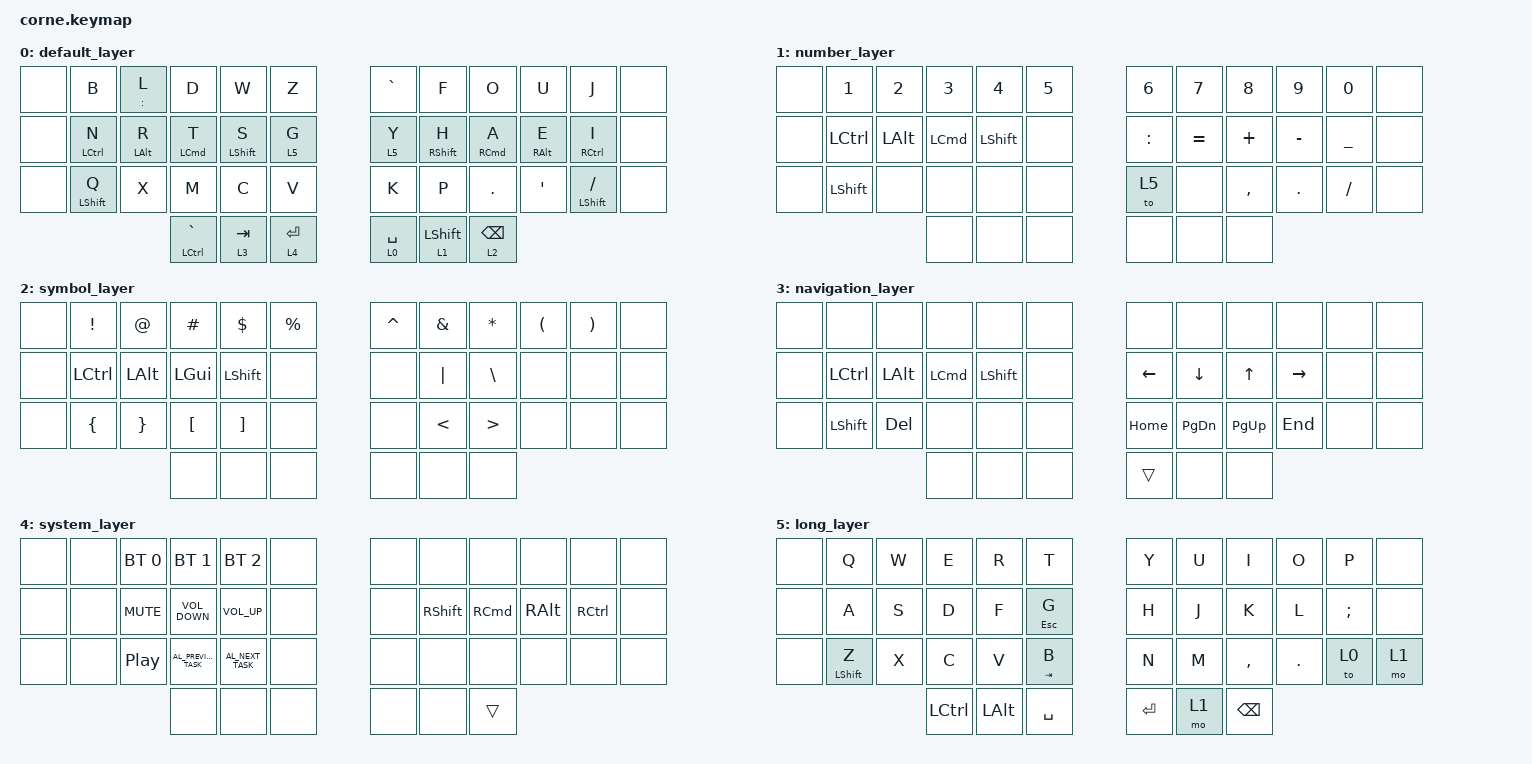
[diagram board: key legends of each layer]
/*
 * Copyright (c) 2020 The ZMK Contributors
 *
 * SPDX-License-Identifier: MIT
 */

#include <behaviors.dtsi>
#include <dt-bindings/zmk/bt.h>
#include <dt-bindings/zmk/keys.h>

/ {
    combos {
        compatible = "zmk,combos";

        esc {
            bindings = <&kp ESCAPE>;
            key-positions = <15 16>;
        };
    };

    behaviors {
        hold_tap_behavior: hold_tap_behavior {
            compatible = "zmk,behavior-hold-tap";
            label = "HOLD_TAP_BEHAVIOR";
            bindings = <&kp>, <&kp>;

            #binding-cells = <2>;
            tapping-term-ms = <200>;
            quick-tap-ms = <0>;
            flavor = "tap-preferred";
        };
    };

    keymap {
        compatible = "zmk,keymap";

        default_layer {
            // -----------------------------------------------------------------------------------------
            // |  Q  |  W  |  E  |  R  |  T  |   |  Y  |  U   |  I  |  O  |  P  |
            // | A  |  S  |  D  |  F  |  G  |   |  H  |  J   |  K  |  L  |  ;  |
            // | Z  |  X  |  C  |  V  |  B  |   |  N  |  M   |  ,  |  .  |  /  |
            //                    | GUI | LWR | SPC |   | ENT | RSE  | BKSP |

            bindings = <
&none  &kp B                            &hold_tap_behavior COLON L     &kp D                              &kp W                            &kp Z        &kp GRAVE    &kp F                             &kp O                               &kp U                           &kp J                                &none
&none  &hold_tap_behavior LCTRL N       &hold_tap_behavior LEFT_ALT R  &hold_tap_behavior LEFT_COMMAND T  &hold_tap_behavior LEFT_SHIFT S  &lt 5 G      &lt 5 Y      &hold_tap_behavior RIGHT_SHIFT H  &hold_tap_behavior RIGHT_COMMAND A  &hold_tap_behavior RIGHT_ALT E  &hold_tap_behavior RCTRL I           &none
&none  &hold_tap_behavior LEFT_SHIFT Q  &kp X                          &kp M                              &kp C                            &kp V        &kp K        &kp P                             &kp PERIOD                          &kp APOSTROPHE                  &hold_tap_behavior LEFT_SHIFT SLASH  &none
                                                                       &mt LCTRL GRAVE                    &lt 3 TAB                        &lt 4 RET    &lt 0 SPACE  &lt 1 LEFT_SHIFT                  &lt 2 BACKSPACE
            >;
        };

        number_layer {
            bindings = <
&none  &kp NUMBER_1    &kp NUMBER_2  &kp NUMBER_3      &kp NUMBER_4    &kp N5    &kp NUMBER_6  &kp N7     &kp N8     &kp N9      &kp NUMBER_0    &none
&none  &kp LCTRL       &kp LEFT_ALT  &kp LEFT_COMMAND  &kp LEFT_SHIFT  &none     &kp COLON     &kp EQUAL  &kp PLUS   &kp MINUS   &kp UNDERSCORE  &none
&none  &kp LEFT_SHIFT  &none         &none             &none           &none     &to 5         &none      &kp COMMA  &kp PERIOD  &kp SLASH       &none
                                     &none             &none           &none     &none         &none      &none
            >;
        };

        symbol_layer {
            bindings = <
&none  &kp EXCLAMATION  &kp AT_SIGN      &kp HASH          &kp DOLLAR         &kp PERCENT    &kp CARET  &kp AMPERSAND  &kp ASTERISK      &kp LEFT_PARENTHESIS  &kp RIGHT_PARENTHESIS  &none
&none  &kp LCTRL        &kp LALT         &kp LGUI          &kp LSHFT          &none          &none      &kp PIPE       &kp BACKSLASH     &none                 &none                  &none
&none  &kp LEFT_BRACE   &kp RIGHT_BRACE  &kp LEFT_BRACKET  &kp RIGHT_BRACKET  &none          &none      &kp LESS_THAN  &kp GREATER_THAN  &none                 &none                  &none
                                         &none             &none              &none          &none      &none          &none
            >;
        };

        navigation_layer {
            bindings = <
&none  &none           &none         &none             &none           &none    &none     &none          &none         &none      &none  &none
&none  &kp LCTRL       &kp LEFT_ALT  &kp LEFT_COMMAND  &kp LEFT_SHIFT  &none    &kp LEFT  &kp DOWN       &kp UP_ARROW  &kp RIGHT  &none  &none
&none  &kp LEFT_SHIFT  &kp DELETE    &none             &none           &none    &kp HOME  &kp PAGE_DOWN  &kp PAGE_UP   &kp END    &none  &none
                                     &none             &none           &none    &trans    &none          &none
            >;
        };

        system_layer {
            bindings = <
&none  &none  &bt BT_SEL 0      &bt BT_SEL 1            &bt BT_SEL 2        &none    &none  &none            &none              &none          &none      &none
&none  &none  &kp K_MUTE        &kp C_VOLUME_DOWN       &kp C_VOLUME_UP     &none    &none  &kp RIGHT_SHIFT  &kp RIGHT_COMMAND  &kp RIGHT_ALT  &kp RCTRL  &none
&none  &none  &kp C_PLAY_PAUSE  &kp C_AL_PREVIOUS_TASK  &kp C_AL_NEXT_TASK  &none    &none  &none            &none              &none          &none      &none
                                &none                   &none               &none    &none  &none            &trans
            >;
        };

        long_layer {
            bindings = <
&none  &kp Q                            &kp W  &kp E             &kp R         &kp T                          &kp Y       &kp U  &kp I          &kp O    &kp P     &none
&none  &kp A                            &kp S  &kp D             &kp F         &hold_tap_behavior ESCAPE G    &kp H       &kp J  &kp K          &kp L    &kp SEMI  &none
&none  &hold_tap_behavior LEFT_SHIFT Z  &kp X  &kp C             &kp V         &hold_tap_behavior TAB B       &kp N       &kp M  &kp COMMA      &kp DOT  &to 0     &mo 1
                                               &kp LEFT_CONTROL  &kp LEFT_ALT  &kp SPACE                      &kp RETURN  &mo 1  &kp BACKSPACE
            >;
        };
    };
};
